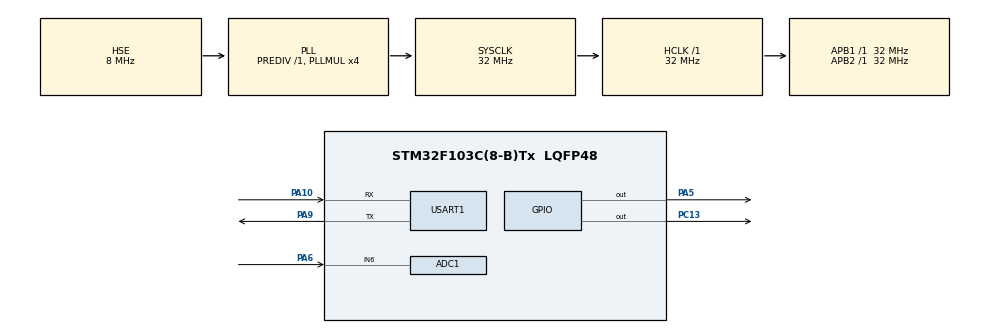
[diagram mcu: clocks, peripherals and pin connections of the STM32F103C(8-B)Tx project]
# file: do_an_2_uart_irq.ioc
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ADC1.Channel-0\#ChannelRegularConversion=ADC_CHANNEL_6
ADC1.NbrOfConversionFlag=1
ADC1.Rank-0\#ChannelRegularConversion=1
ADC1.SamplingTime-0\#ChannelRegularConversion=ADC_SAMPLETIME_1CYCLE_5
ADC1.master=1
Mcu.Family=STM32F1
Mcu.Name=STM32F103C(8-B)Tx
Mcu.Package=LQFP48
NVIC.PriorityGroup=NVIC_PRIORITYGROUP_4
NVIC.TIM1_UP_IRQn=true\:0\:0\:false\:false\:true\:true\:true\:true
PA10.Mode=Asynchronous
PA10.Signal=USART1_RX
PA5.Signal=GPIO_Output
PA6.Signal=ADCx_IN6
PA9.Mode=Asynchronous
PA9.Signal=USART1_TX
PC13-TAMPER-RTC.Signal=GPIO_Output
PD0-OSC_IN.Mode=HSE-External-Oscillator
PD0-OSC_IN.Signal=RCC_OSC_IN
PD1-OSC_OUT.Mode=HSE-External-Oscillator
PD1-OSC_OUT.Signal=RCC_OSC_OUT
ProjectManager.HeapSize=0x200
ProjectManager.StackSize=0x400
ProjectManager.TargetToolchain=STM32CubeIDE
RCC.ADCPresc=RCC_ADCPCLK2_DIV4
RCC.AHBFreq_Value=32000000
RCC.APB1Freq_Value=32000000
RCC.APB1TimFreq_Value=32000000
RCC.APB2Freq_Value=32000000
RCC.APB2TimFreq_Value=32000000
RCC.HCLKFreq_Value=32000000
RCC.PLLMUL=RCC_PLL_MUL4
RCC.PLLSourceVirtual=RCC_PLLSOURCE_HSE
RCC.SYSCLKFreq_VALUE=32000000
RCC.SYSCLKSource=RCC_SYSCLKSOURCE_PLLCLK
RCC.USBFreq_Value=32000000
SH.ADCx_IN6.0=ADC1_IN6,IN6
TIM1.AutoReloadPreload=TIM_AUTORELOAD_PRELOAD_ENABLE
TIM1.Period=65000
TIM1.Prescaler=31
USART1.VirtualMode=VM_ASYNC
VP_TIM1_VS_ClockSourceINT.Mode=Internal
board=custom

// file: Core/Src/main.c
/* USER CODE BEGIN Header */
/**
  ******************************************************************************
  * @file           : main.c
  * @brief          : Main program body
  ******************************************************************************
  * @attention
  *
  * Copyright (c) 2023 STMicroelectronics.
  * All rights reserved.
  *
  * This software is licensed under terms that can be found in the LICENSE file
  * in the root directory of this software component.
  * If no LICENSE file comes with this software, it is provided AS-IS.
  *
  ******************************************************************************
  */
/* USER CODE END Header */
#include "main.h"

ADC_HandleTypeDef hadc1;

TIM_HandleTypeDef htim1;

UART_HandleTypeDef huart1;

void SystemClock_Config(void);
static void MX_GPIO_Init(void);
static void MX_USART1_UART_Init(void);
static void MX_TIM1_Init(void);
static void MX_ADC1_Init(void);

/* USER CODE BEGIN 0 */
#define CYCLE_MAX 50
#include <string.h>
#include <stdio.h>
#include <stdlib.h>
#include <stdbool.h>
uint32_t count,cycles,count_cycles[100],arr[100];
uint8_t data[4];
uint8_t arr_low[50];
uint8_t arr_high[50];
uint8_t arr_endline[50] = "\n\n";
uint32_t count_cycles_state(bool n) {
    count =0;
    while(HAL_GPIO_ReadPin(GPIOA, GPIO_PIN_5) == n) {
        count++;
	if(count > 50) {
		return count;
	}
    }
    return count;
}
void Read_DHT11(uint32_t* arr,uint8_t* data) {
  GPIO_InitTypeDef GPIO_InitStruct = {0};

  GPIO_InitStruct.Pull = GPIO_PULLUP;
  GPIO_InitStruct.Mode = GPIO_MODE_INPUT ;
  GPIO_InitStruct.Pin = GPIO_PIN_5;
  GPIO_InitStruct.Speed = GPIO_SPEED_FREQ_LOW;
  HAL_GPIO_Init(GPIOA, &GPIO_InitStruct);

  HAL_Delay(1);

  GPIO_InitStruct.Pull = GPIO_NOPULL;
  GPIO_InitStruct.Mode = GPIO_MODE_OUTPUT_PP  ;
  GPIO_InitStruct.Pin = GPIO_PIN_5;
  GPIO_InitStruct.Speed = GPIO_SPEED_FREQ_LOW;
  HAL_GPIO_Init(GPIOA, &GPIO_InitStruct);

  HAL_GPIO_WritePin(GPIOA, GPIO_PIN_5, 0);

  HAL_Delay(20);

  GPIO_InitStruct.Pull = GPIO_PULLUP;
  GPIO_InitStruct.Mode = GPIO_MODE_INPUT ;
  GPIO_InitStruct.Pin = GPIO_PIN_5;
  GPIO_InitStruct.Speed = GPIO_SPEED_FREQ_LOW;
  HAL_GPIO_Init(GPIOA, &GPIO_InitStruct);
  for(int i=0;i< 160;i++) {
	  __NOP();
  }
  while(HAL_GPIO_ReadPin(GPIOA, GPIO_PIN_5) == 0);
  while(HAL_GPIO_ReadPin(GPIOA, GPIO_PIN_5) == 1);

  for(int i=0; i< 100 ; i+=2) {
	  count_cycles[i] = count_cycles_state(0);
	  count_cycles[i+1] = count_cycles_state(1);
	  arr[i] = count_cycles[i];
	  arr[i+1] = count_cycles[i+1];
  }

  data[1] = 0x00;
  data[2] = 0x00;
  data[3] = 0x00;
  data[4] = 0x00;
  for (int i = 0; i < 40; ++i) {
	  uint32_t lowCycles = arr[2 * i];
	  uint32_t highCycles = arr[2 * i + 1];
	  if ((lowCycles >= CYCLE_MAX) || (highCycles >= CYCLE_MAX)) {
		  HAL_GPIO_TogglePin(GPIOC, GPIO_PIN_13);
	  }
	  data[i / 8] <<= 1;
	  if (highCycles > lowCycles) {
		  data[i / 8] |= 1;
	  }

  }
  uint8_t check_sum = ( data[0]+ data[1]+ data[2]+ data[3] ) & 0xFF;
  if(check_sum == data[4]) {

  }else {
	  while(1);
  }

}

void ftostr(double num, int digits,char *buff)
{
int i_temp = (int)num;

float f_temp = num-i_temp;

char temp_s[20];
int i_len = i_temp>0 ?1:2;

int ref_len = i_len;
int var = i_temp;

while(var)
{
i_len += 1;
var /=10;
}

int temp_len = i_len;

for(int i=0;i<digits;i++)
{
if(temp_len==ref_len)
{
temp_s[i_len-2-i]='0' + i_temp%10;
temp_len -= 1;
}
else if(temp_len>ref_len)
{
temp_s[i_len-2-i]='0' + i_temp%10;
i_temp /= 10;
temp_len -= 1;
}
if(i_len-1 == i)
{
temp_s[i] = '.';
temp_len -= ref_len==2?1:0;
}
else if(temp_len == 0)
{
temp_s[i] =(int)(f_temp*10)+'0';
f_temp = f_temp *10;
f_temp = f_temp - (int)f_temp;
}
}

for(int i=0;i<=digits;i++)
{
buff[i] = temp_s[i];
}
}

/* USER CODE END 0 */

int main(void)
{
  /* USER CODE BEGIN 1 */
	uint8_t buffer[20]= "gia tri ADC la:";
	uint8_t chuoi[20];
	char chuoi_n[50];
	uint8_t chuoi_ret[1000];
	uint8_t chuoi_met[50];
	uint8_t chuoi1[20];
	uint8_t chuoi1_t[20];
	uint8_t stt[20]= "\n\n\n\n";
	uint32_t var_adc =0;
	char buffer_adc[50];
  /* USER CODE END 1 */

  /* MCU Configuration--------------------------------------------------------*/

  /* Reset of all peripherals, Initializes the Flash interface and the Systick. */
  HAL_Init();

  /* Configure the system clock */
  SystemClock_Config();

  /* Initialize all configured peripherals */
  MX_GPIO_Init();
  MX_USART1_UART_Init();
  MX_TIM1_Init();
  MX_ADC1_Init();

  /* Infinite loop */
  while (1)
  {

    /* USER CODE BEGIN 3 */
	  HAL_ADC_Start(&hadc1);
	  HAL_Delay(50);
	  HAL_UART_Transmit(&huart1, buffer,strlen((const char*)buffer),10);
	  HAL_Delay(5000);
	  Read_DHT11(arr,data); // đ�?c dht11
	  float temp = data[2] + data[3]*0.1;
	  float humi = data[0] + data[1]*0.1;
	  char tx_humi[100];
	  char tx[100];
	  ftostr(humi,3,tx_humi);
	  HAL_UART_Transmit(&huart1, tx_humi, strlen(tx_humi), 10);
	  ftostr(temp,3,tx);
	  HAL_Delay(1000);
	  HAL_UART_Transmit(&huart1, tx, strlen(tx), 10);
	  for(int i =0;i < 100;i++) {
		  tx_humi[i]=0;
		  tx[i] = 0;
	  }
	  HAL_Delay(1000);
	  var_adc = HAL_ADC_GetValue(&hadc1);   // đ�?c adc quang trở
	  sprintf(buffer_adc, "%ld", var_adc);
	  HAL_UART_Transmit(&huart1, buffer_adc, strlen(buffer_adc), 10);
	  for(int i=0;i< strlen(buffer);i++) {
	  		  buffer[i] = 0;
	  	  }
//	  for(int i=0;i< strlen(buffer_adc);i++) {
//		  buffer_adc[i] = 0;
//	  }
//	  if(var_adc < 200)
//	  {
//		  HAL_GPIO_WritePin(GPIOC, GPIO_PIN_13, 1);
//	  }
//	  else{
//	  HAL_GPIO_WritePin(GPIOC, GPIO_PIN_13, 0);
//	  }
	  HAL_Delay(1000);

  }
  /* USER CODE END 3 */
}

void SystemClock_Config(void)
{
  RCC_OscInitTypeDef RCC_OscInitStruct = {0};
  RCC_ClkInitTypeDef RCC_ClkInitStruct = {0};
  RCC_PeriphCLKInitTypeDef PeriphClkInit = {0};

  /** Initializes the RCC Oscillators according to the specified parameters
  * in the RCC_OscInitTypeDef structure.
  */
  RCC_OscInitStruct.OscillatorType = RCC_OSCILLATORTYPE_HSE;
  RCC_OscInitStruct.HSEState = RCC_HSE_ON;
  RCC_OscInitStruct.HSEPredivValue = RCC_HSE_PREDIV_DIV1;
  RCC_OscInitStruct.HSIState = RCC_HSI_ON;
  RCC_OscInitStruct.PLL.PLLState = RCC_PLL_ON;
  RCC_OscInitStruct.PLL.PLLSource = RCC_PLLSOURCE_HSE;
  RCC_OscInitStruct.PLL.PLLMUL = RCC_PLL_MUL4;
  if (HAL_RCC_OscConfig(&RCC_OscInitStruct) != HAL_OK)
  {
    Error_Handler();
  }

  /** Initializes the CPU, AHB and APB buses clocks
  */
  RCC_ClkInitStruct.ClockType = RCC_CLOCKTYPE_HCLK|RCC_CLOCKTYPE_SYSCLK
                              |RCC_CLOCKTYPE_PCLK1|RCC_CLOCKTYPE_PCLK2;
  RCC_ClkInitStruct.SYSCLKSource = RCC_SYSCLKSOURCE_PLLCLK;
  RCC_ClkInitStruct.AHBCLKDivider = RCC_SYSCLK_DIV1;
  RCC_ClkInitStruct.APB1CLKDivider = RCC_HCLK_DIV1;
  RCC_ClkInitStruct.APB2CLKDivider = RCC_HCLK_DIV1;

  if (HAL_RCC_ClockConfig(&RCC_ClkInitStruct, FLASH_LATENCY_1) != HAL_OK)
  {
    Error_Handler();
  }
  PeriphClkInit.PeriphClockSelection = RCC_PERIPHCLK_ADC;
  PeriphClkInit.AdcClockSelection = RCC_ADCPCLK2_DIV4;
  if (HAL_RCCEx_PeriphCLKConfig(&PeriphClkInit) != HAL_OK)
  {
    Error_Handler();
  }
}

static void MX_ADC1_Init(void)
{

  ADC_ChannelConfTypeDef sConfig = {0};

  /** Common config
  */
  hadc1.Instance = ADC1;
  hadc1.Init.ScanConvMode = ADC_SCAN_DISABLE;
  hadc1.Init.ContinuousConvMode = DISABLE;
  hadc1.Init.DiscontinuousConvMode = DISABLE;
  hadc1.Init.ExternalTrigConv = ADC_SOFTWARE_START;
  hadc1.Init.DataAlign = ADC_DATAALIGN_RIGHT;
  hadc1.Init.NbrOfConversion = 1;
  if (HAL_ADC_Init(&hadc1) != HAL_OK)
  {
    Error_Handler();
  }

  /** Configure Regular Channel
  */
  sConfig.Channel = ADC_CHANNEL_6;
  sConfig.Rank = ADC_REGULAR_RANK_1;
  sConfig.SamplingTime = ADC_SAMPLETIME_1CYCLE_5;
  if (HAL_ADC_ConfigChannel(&hadc1, &sConfig) != HAL_OK)
  {
    Error_Handler();
  }

}

static void MX_TIM1_Init(void)
{

  TIM_ClockConfigTypeDef sClockSourceConfig = {0};
  TIM_MasterConfigTypeDef sMasterConfig = {0};

  htim1.Instance = TIM1;
  htim1.Init.Prescaler = 31;
  htim1.Init.CounterMode = TIM_COUNTERMODE_UP;
  htim1.Init.Period = 65000;
  htim1.Init.ClockDivision = TIM_CLOCKDIVISION_DIV1;
  htim1.Init.RepetitionCounter = 0;
  htim1.Init.AutoReloadPreload = TIM_AUTORELOAD_PRELOAD_ENABLE;
  if (HAL_TIM_Base_Init(&htim1) != HAL_OK)
  {
    Error_Handler();
  }
  sClockSourceConfig.ClockSource = TIM_CLOCKSOURCE_INTERNAL;
  if (HAL_TIM_ConfigClockSource(&htim1, &sClockSourceConfig) != HAL_OK)
  {
    Error_Handler();
  }
  sMasterConfig.MasterOutputTrigger = TIM_TRGO_RESET;
  sMasterConfig.MasterSlaveMode = TIM_MASTERSLAVEMODE_DISABLE;
  if (HAL_TIMEx_MasterConfigSynchronization(&htim1, &sMasterConfig) != HAL_OK)
  {
    Error_Handler();
  }

}

static void MX_USART1_UART_Init(void)
{

  huart1.Instance = USART1;
  huart1.Init.BaudRate = 115200;
  huart1.Init.WordLength = UART_WORDLENGTH_8B;
  huart1.Init.StopBits = UART_STOPBITS_1;
  huart1.Init.Parity = UART_PARITY_NONE;
  huart1.Init.Mode = UART_MODE_TX_RX;
  huart1.Init.HwFlowCtl = UART_HWCONTROL_NONE;
  huart1.Init.OverSampling = UART_OVERSAMPLING_16;
  if (HAL_UART_Init(&huart1) != HAL_OK)
  {
    Error_Handler();
  }

}

static void MX_GPIO_Init(void)
{
  GPIO_InitTypeDef GPIO_InitStruct = {0};

  /* GPIO Ports Clock Enable */
  __HAL_RCC_GPIOC_CLK_ENABLE();
  __HAL_RCC_GPIOD_CLK_ENABLE();
  __HAL_RCC_GPIOA_CLK_ENABLE();

  /*Configure GPIO pin Output Level */
  HAL_GPIO_WritePin(GPIOC, GPIO_PIN_13, GPIO_PIN_RESET);

  /*Configure GPIO pin Output Level */
  HAL_GPIO_WritePin(GPIOA, GPIO_PIN_5, GPIO_PIN_RESET);

  /*Configure GPIO pin : PC13 */
  GPIO_InitStruct.Pin = GPIO_PIN_13;
  GPIO_InitStruct.Mode = GPIO_MODE_OUTPUT_PP;
  GPIO_InitStruct.Pull = GPIO_NOPULL;
  GPIO_InitStruct.Speed = GPIO_SPEED_FREQ_LOW;
  HAL_GPIO_Init(GPIOC, &GPIO_InitStruct);

  /*Configure GPIO pin : PA5 */
  GPIO_InitStruct.Pin = GPIO_PIN_5;
  GPIO_InitStruct.Mode = GPIO_MODE_OUTPUT_PP;
  GPIO_InitStruct.Pull = GPIO_NOPULL;
  GPIO_InitStruct.Speed = GPIO_SPEED_FREQ_LOW;
  HAL_GPIO_Init(GPIOA, &GPIO_InitStruct);

}

/* USER CODE BEGIN 4 */
void HAL_TIM_PeriodElapsedCallback(TIM_HandleTypeDef *htim) {
	HAL_GPIO_TogglePin(GPIOC, GPIO_PIN_13);
}

/* USER CODE END 4 */

void Error_Handler(void)
{
  __disable_irq();
  while (1)
  {
  }
}
